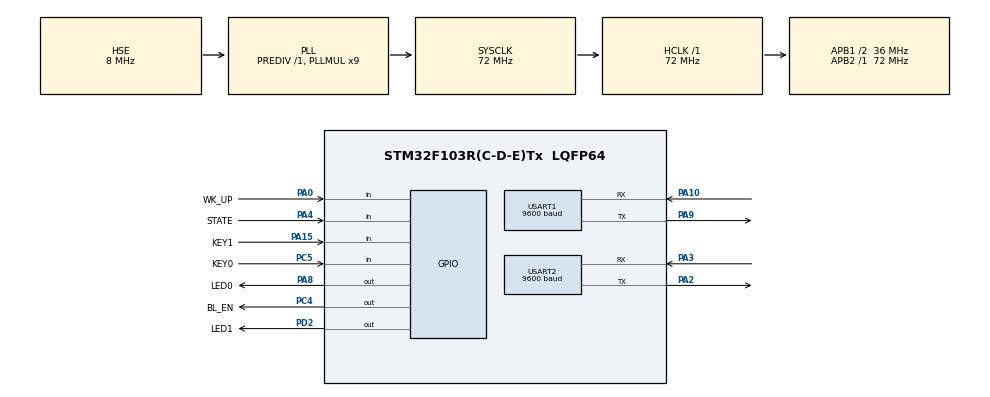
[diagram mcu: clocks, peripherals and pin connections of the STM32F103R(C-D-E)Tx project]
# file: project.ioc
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Mcu.Family=STM32F1
Mcu.Name=STM32F103R(C-D-E)Tx
Mcu.Package=LQFP64
NVIC.PriorityGroup=NVIC_PRIORITYGROUP_2
NVIC.TIM2_IRQn=true\:0\:2\:true\:false\:true\:true\:true
NVIC.USART1_IRQn=true\:1\:0\:true\:false\:true\:true\:true
NVIC.USART2_IRQn=true\:0\:2\:true\:false\:true\:true\:true
PA0-WKUP.GPIO_Label=WK_UP
PA0-WKUP.GPIO_PuPd=GPIO_PULLDOWN
PA0-WKUP.Signal=GPIO_Input
PA10.Mode=Asynchronous
PA10.Signal=USART1_RX
PA15.GPIO_Label=KEY1
PA15.GPIO_PuPd=GPIO_PULLUP
PA15.Signal=GPIO_Input
PA2.Mode=Asynchronous
PA2.Signal=USART2_TX
PA3.Mode=Asynchronous
PA3.Signal=USART2_RX
PA4.GPIO_Label=STATE
PA4.Signal=GPIO_Input
PA8.GPIO_Label=LED0
PA8.Signal=GPIO_Output
PA9.Mode=Asynchronous
PA9.Signal=USART1_TX
PC4.GPIO_Label=BL_EN
PC4.Signal=GPIO_Output
PC5.GPIO_Label=KEY0
PC5.GPIO_PuPd=GPIO_PULLUP
PC5.Signal=GPIO_Input
PD0-OSC_IN.Mode=HSE-External-Oscillator
PD0-OSC_IN.Signal=RCC_OSC_IN
PD1-OSC_OUT.Mode=HSE-External-Oscillator
PD1-OSC_OUT.Signal=RCC_OSC_OUT
PD2.GPIO_Label=LED1
PD2.Signal=GPIO_Output
ProjectManager.HeapSize=0x200
ProjectManager.StackSize=0x400
ProjectManager.TargetToolchain=STM32CubeIDE
RCC.AHBFreq_Value=72000000
RCC.APB1CLKDivider=RCC_HCLK_DIV2
RCC.APB1Freq_Value=36000000
RCC.APB1TimFreq_Value=72000000
RCC.APB2Freq_Value=72000000
RCC.APB2TimFreq_Value=72000000
RCC.HCLKFreq_Value=72000000
RCC.PLLMUL=RCC_PLL_MUL9
RCC.PLLSourceVirtual=RCC_PLLSOURCE_HSE
RCC.SYSCLKFreq_VALUE=72000000
RCC.SYSCLKSource=RCC_SYSCLKSOURCE_PLLCLK
RCC.USBFreq_Value=72000000
TIM2.Period=99
TIM2.Prescaler=7199
USART1.BaudRate=9600
USART1.VirtualMode=VM_ASYNC
USART2.BaudRate=9600
USART2.VirtualMode=VM_ASYNC
VP_SYS_VS_ND.Mode=No_Debug
VP_TIM2_VS_ClockSourceINT.Mode=Internal
board=custom

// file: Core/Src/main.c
/* USER CODE BEGIN Header */
/**
  ******************************************************************************
  * @file           : main.c
  * @brief          : Main program body
  ******************************************************************************
  * @attention
  *
  * <h2><center>&copy; Copyright (c) 2021 STMicroelectronics.
  * All rights reserved.</center></h2>
  *
  * This software component is licensed by ST under BSD 3-Clause license,
  * the "License"; You may not use this file except in compliance with the
  * License. You may obtain a copy of the License at:
  *                        opensource.org/licenses/BSD-3-Clause
  *
  ******************************************************************************
  */
/* USER CODE END Header */
#include "main.h"

/* USER CODE BEGIN Includes */
#include "lcd.h"
#include "rose.h"
/* USER CODE END Includes */

/* USER CODE BEGIN PD */
#define USART1_MAX_RX_LEN 400
#define USART2_MAX_RX_LEN 400
/* USER CODE END PD */

TIM_HandleTypeDef htim2;

UART_HandleTypeDef huart1;
UART_HandleTypeDef huart2;

/* USER CODE BEGIN PV */
u8 USART1_RX_BUF[400];
u8 USART1_TX_BUF[400];
u8 USART2_RX_BUF[400];
u8 USART2_TX_BUF[400];
vu16 USART1_RX_STA;
vu16 USART2_RX_STA;

u8 res1;	//来自串口的字符
u8 res2;	//来自蓝牙的字符
/* USER CODE END PV */

void SystemClock_Config(void);
static void MX_GPIO_Init(void);
static void MX_TIM2_Init(void);
static void MX_USART1_UART_Init(void);
static void MX_USART2_UART_Init(void);

/* USER CODE BEGIN 0 */
static void question_mode(u8 content[],u8 point[],u8 time_left[],u8 score[]){
	POINT_COLOR = BLACK;
	u8 msg[30];

//	sprintf(msg, "content:%s \r\n",content);
//	HAL_UART_Transmit(&huart1, msg, strlen(msg), 0xffff);
//	sprintf(msg, "point:%s \r\n",point);
//	HAL_UART_Transmit(&huart1, msg, strlen(msg), 0xffff);
//	sprintf(msg, "time_left:%s \r\n",time_left);
//	HAL_UART_Transmit(&huart1, msg, strlen(msg), 0xffff);
//	sprintf(msg, "score:%s \r\n",score);
//	HAL_UART_Transmit(&huart1, msg, strlen(msg), 0xffff);

	LCD_ShowString(10, 10, 200, 24, 24, "Question:");
	LCD_ShowString(40, 40, 200, 24, 24, content);

	sprintf(msg, "Point:%s",point);
	LCD_ShowString(10, 70, 200, 24, 24, msg);

	sprintf(msg, "Time left: %s s",time_left);
	LCD_ShowString(10, 100, 200, 24, 24, msg);

	if(time_left[0]=='0'){
		POINT_COLOR = RED;
		LCD_ShowString(10, 180, 200, 24, 24, "Time is up!");

	}else{
		if(score[0]=='-'){
				//do nothing
			}else if(score[0]=='0'){
				POINT_COLOR = RED;
				LCD_ShowString(80, 180, 200, 24, 24, "Wrong!");
				sprintf(msg, "You get %s points",score);
				LCD_ShowString(10, 210, 200, 24, 24, msg);
				LCD_ShowString(10, 240, 200, 24, 24, "Try again");
			}else{
				POINT_COLOR = GREEN;
				LCD_ShowString(80, 180, 200, 24, 24, "Right!");
				sprintf(msg, "You get %s points",score);
				LCD_ShowString(10, 210, 200, 24, 24, msg);
			}
	}

}

//static void answer_received_mode(int score){
//	char msg[30];
//
//}

//@parameter next : 0 for over ,1 for continue

static void judge_mode(u8 total_score[],u8 next){
	u8 msg[30];
	POINT_COLOR = BLACK;
//				  sprintf(msg, "total_point:%s \r\n",total_score);
//				  HAL_UART_Transmit(&huart1, msg, strlen(msg), 0xffff);
//				  sprintf(msg, "next:%c \r\n",next);
//				  HAL_UART_Transmit(&huart1, msg, strlen(msg), 0xffff);
	if(next=='0'){
		LCD_ShowString(10, 10, 200, 24, 24, "Game over!");
		LCD_Color_Fill(1,101,200,200,rose_color); //指定区域填充色块（color为色块数组）
	}else{
		LCD_ShowString(10, 10, 200, 24, 24, "Continue!");
	}

	sprintf(msg, "Total points: %s",total_score);
	LCD_ShowString(10, 40, 200, 24, 24, msg);

}
/* USER CODE END 0 */

int main(void)
{

  /* MCU Configuration--------------------------------------------------------*/

  /* Reset of all peripherals, Initializes the Flash interface and the Systick. */
  HAL_Init();

  /* Configure the system clock */
  SystemClock_Config();

  /* Initialize all configured peripherals */
  MX_GPIO_Init();
  MX_TIM2_Init();
  MX_USART1_UART_Init();
  MX_USART2_UART_Init();
  /* USER CODE BEGIN 2 */
  HAL_UART_Receive_IT(&huart1, &res1, 1);  		//开启串口1中断 需要修改IRHandler
  HAL_UART_Receive_IT(&huart2, &res2, 1);  		//开启串口2中断 需要修改IRHandler
  HAL_TIM_Base_Start_IT(&htim2);
  __HAL_TIM_DISABLE(&htim2);

  USART1_RX_STA=0;
  USART2_RX_STA=0;
  LCD_Init();
  /* USER CODE END 2 */

  /* Infinite loop */
  while (1)
  {

    /* USER CODE BEGIN 3 */

	  if (USART1_RX_STA&0x8000) {	//收到来自串口的消息
		  USART1_RX_STA &= 0x3fff;
		  USART1_RX_BUF[USART1_RX_STA++] = 0x0d;
		  USART1_RX_BUF[USART1_RX_STA++] = 0x0a;

		  HAL_UART_Transmit(&huart1, USART1_RX_BUF, USART1_RX_STA, HAL_MAX_DELAY);	//回显
		  HAL_UART_Transmit(&huart2, USART1_RX_BUF, USART1_RX_STA, HAL_MAX_DELAY);  //发送给蓝牙
		  USART1_RX_STA = 0;
	  }

	  if (USART2_RX_STA&0x8000) {	//收到来自蓝牙的消息
		  USART2_RX_STA &= 0x3fff;

		  HAL_UART_Transmit(&huart1, USART2_RX_BUF, USART2_RX_STA, HAL_MAX_DELAY);

		  LCD_Clear(WHITE);
		  if(USART2_RX_BUF[0]=='1'){
			  int index = 2;
			  u8 content[30];
			  int content_index = 0;
			  while(1){
				  if(USART2_RX_BUF[index]!=';'){
					  content[content_index++] = USART2_RX_BUF[index++];
				  }else{
					  index++;
					  content[content_index] = '\0';
					  break;
				  }
			  }
			  u8 point[30];
			  int point_index = 0;
			  while(1){
				  if(USART2_RX_BUF[index]!=';'){
					  point[point_index++] = USART2_RX_BUF[index++];
				  }else{
					  index++;
					  point[point_index] = '\0';
					  break;
				  }
			  }
			  u8 time_left[30];
			  int time_index = 0;
			  while(1){
				  if(USART2_RX_BUF[index]!=';'){
					  time_left[time_index++] = USART2_RX_BUF[index++];
				  }else{
					  index++;
					  time_left[time_index] = '\0';
					  break;
				  }
			  }
			  u8 score[30];
			  int score_index = 0;
			  while(1){
				  if(USART2_RX_BUF[index]!=';'){
					  score[score_index++] = USART2_RX_BUF[index++];
				  }else{
					  index++;
					  score[score_index] = '\0';
					  break;
				  }
			  }

//			  u8 msg[30];
//
//			  	sprintf(msg, "_content:%s \r\n",content);
//			  	HAL_UART_Transmit(&huart1, msg, strlen(msg), 0xffff);
//			  	sprintf(msg, "_point:%s \r\n",point);
//			  	HAL_UART_Transmit(&huart1, msg, strlen(msg), 0xffff);
//			  	sprintf(msg, "_time_left:%s \r\n",time_left);
//			  	HAL_UART_Transmit(&huart1, msg, strlen(msg), 0xffff);
//			  	sprintf(msg, "_score:%s \r\n",score);
//			  	HAL_UART_Transmit(&huart1, msg, strlen(msg), 0xffff);
			  question_mode(content,point,time_left,score);
		  }else if(USART2_RX_BUF[0]=='3'){
			  int index = 2;
			  u8 total_point[30];
			  int total_index = 0;
			  while(1){
				  if(USART2_RX_BUF[index]!=';'){
					  total_point[total_index++] = USART2_RX_BUF[index++];
				  }else{
					  index++;
					  total_point[total_index] = '\0';
					  break;
				  }
			  }

//			  u8 msg[30];
//			  sprintf(msg, "_total_point:%s \r\n",total_point);
//			  HAL_UART_Transmit(&huart1, msg, strlen(msg), 0xffff);
//			  sprintf(msg, "_next:%c \r\n",USART2_RX_BUF[index]);
//			  HAL_UART_Transmit(&huart1, msg, strlen(msg), 0xffff);

			  judge_mode(total_point,USART2_RX_BUF[index]);
		  }else{
			  //do nothing, cause data are not recognizable
		  }

		  USART2_RX_STA = 0;
	  }

  }
  /* USER CODE END 3 */
}

void SystemClock_Config(void)
{
  RCC_OscInitTypeDef RCC_OscInitStruct = {0};
  RCC_ClkInitTypeDef RCC_ClkInitStruct = {0};

  /** Initializes the RCC Oscillators according to the specified parameters
  * in the RCC_OscInitTypeDef structure.
  */
  RCC_OscInitStruct.OscillatorType = RCC_OSCILLATORTYPE_HSE;
  RCC_OscInitStruct.HSEState = RCC_HSE_ON;
  RCC_OscInitStruct.HSEPredivValue = RCC_HSE_PREDIV_DIV1;
  RCC_OscInitStruct.HSIState = RCC_HSI_ON;
  RCC_OscInitStruct.PLL.PLLState = RCC_PLL_ON;
  RCC_OscInitStruct.PLL.PLLSource = RCC_PLLSOURCE_HSE;
  RCC_OscInitStruct.PLL.PLLMUL = RCC_PLL_MUL9;
  if (HAL_RCC_OscConfig(&RCC_OscInitStruct) != HAL_OK)
  {
    Error_Handler();
  }
  /** Initializes the CPU, AHB and APB buses clocks
  */
  RCC_ClkInitStruct.ClockType = RCC_CLOCKTYPE_HCLK|RCC_CLOCKTYPE_SYSCLK
                              |RCC_CLOCKTYPE_PCLK1|RCC_CLOCKTYPE_PCLK2;
  RCC_ClkInitStruct.SYSCLKSource = RCC_SYSCLKSOURCE_PLLCLK;
  RCC_ClkInitStruct.AHBCLKDivider = RCC_SYSCLK_DIV1;
  RCC_ClkInitStruct.APB1CLKDivider = RCC_HCLK_DIV2;
  RCC_ClkInitStruct.APB2CLKDivider = RCC_HCLK_DIV1;

  if (HAL_RCC_ClockConfig(&RCC_ClkInitStruct, FLASH_LATENCY_2) != HAL_OK)
  {
    Error_Handler();
  }
}

static void MX_TIM2_Init(void)
{

  TIM_ClockConfigTypeDef sClockSourceConfig = {0};
  TIM_MasterConfigTypeDef sMasterConfig = {0};

  htim2.Instance = TIM2;
  htim2.Init.Prescaler = 7199;
  htim2.Init.CounterMode = TIM_COUNTERMODE_UP;
  htim2.Init.Period = 99;
  htim2.Init.ClockDivision = TIM_CLOCKDIVISION_DIV1;
  htim2.Init.AutoReloadPreload = TIM_AUTORELOAD_PRELOAD_DISABLE;
  if (HAL_TIM_Base_Init(&htim2) != HAL_OK)
  {
    Error_Handler();
  }
  sClockSourceConfig.ClockSource = TIM_CLOCKSOURCE_INTERNAL;
  if (HAL_TIM_ConfigClockSource(&htim2, &sClockSourceConfig) != HAL_OK)
  {
    Error_Handler();
  }
  sMasterConfig.MasterOutputTrigger = TIM_TRGO_RESET;
  sMasterConfig.MasterSlaveMode = TIM_MASTERSLAVEMODE_DISABLE;
  if (HAL_TIMEx_MasterConfigSynchronization(&htim2, &sMasterConfig) != HAL_OK)
  {
    Error_Handler();
  }

}

static void MX_USART1_UART_Init(void)
{

  huart1.Instance = USART1;
  huart1.Init.BaudRate = 9600;
  huart1.Init.WordLength = UART_WORDLENGTH_8B;
  huart1.Init.StopBits = UART_STOPBITS_1;
  huart1.Init.Parity = UART_PARITY_NONE;
  huart1.Init.Mode = UART_MODE_TX_RX;
  huart1.Init.HwFlowCtl = UART_HWCONTROL_NONE;
  huart1.Init.OverSampling = UART_OVERSAMPLING_16;
  if (HAL_UART_Init(&huart1) != HAL_OK)
  {
    Error_Handler();
  }

}

static void MX_USART2_UART_Init(void)
{

  huart2.Instance = USART2;
  huart2.Init.BaudRate = 9600;
  huart2.Init.WordLength = UART_WORDLENGTH_8B;
  huart2.Init.StopBits = UART_STOPBITS_1;
  huart2.Init.Parity = UART_PARITY_NONE;
  huart2.Init.Mode = UART_MODE_TX_RX;
  huart2.Init.HwFlowCtl = UART_HWCONTROL_NONE;
  huart2.Init.OverSampling = UART_OVERSAMPLING_16;
  if (HAL_UART_Init(&huart2) != HAL_OK)
  {
    Error_Handler();
  }

}

static void MX_GPIO_Init(void)
{
  GPIO_InitTypeDef GPIO_InitStruct = {0};

  /* GPIO Ports Clock Enable */
  __HAL_RCC_GPIOD_CLK_ENABLE();
  __HAL_RCC_GPIOA_CLK_ENABLE();
  __HAL_RCC_GPIOC_CLK_ENABLE();

  /*Configure GPIO pin Output Level */
  HAL_GPIO_WritePin(BL_EN_GPIO_Port, BL_EN_Pin, GPIO_PIN_RESET);

  /*Configure GPIO pin Output Level */
  HAL_GPIO_WritePin(LED0_GPIO_Port, LED0_Pin, GPIO_PIN_RESET);

  /*Configure GPIO pin Output Level */
  HAL_GPIO_WritePin(LED1_GPIO_Port, LED1_Pin, GPIO_PIN_RESET);

  /*Configure GPIO pin : WK_UP_Pin */
  GPIO_InitStruct.Pin = WK_UP_Pin;
  GPIO_InitStruct.Mode = GPIO_MODE_INPUT;
  GPIO_InitStruct.Pull = GPIO_PULLDOWN;
  HAL_GPIO_Init(WK_UP_GPIO_Port, &GPIO_InitStruct);

  /*Configure GPIO pin : STATE_Pin */
  GPIO_InitStruct.Pin = STATE_Pin;
  GPIO_InitStruct.Mode = GPIO_MODE_INPUT;
  GPIO_InitStruct.Pull = GPIO_NOPULL;
  HAL_GPIO_Init(STATE_GPIO_Port, &GPIO_InitStruct);

  /*Configure GPIO pin : BL_EN_Pin */
  GPIO_InitStruct.Pin = BL_EN_Pin;
  GPIO_InitStruct.Mode = GPIO_MODE_OUTPUT_PP;
  GPIO_InitStruct.Pull = GPIO_NOPULL;
  GPIO_InitStruct.Speed = GPIO_SPEED_FREQ_LOW;
  HAL_GPIO_Init(BL_EN_GPIO_Port, &GPIO_InitStruct);

  /*Configure GPIO pin : KEY0_Pin */
  GPIO_InitStruct.Pin = KEY0_Pin;
  GPIO_InitStruct.Mode = GPIO_MODE_INPUT;
  GPIO_InitStruct.Pull = GPIO_PULLUP;
  HAL_GPIO_Init(KEY0_GPIO_Port, &GPIO_InitStruct);

  /*Configure GPIO pin : LED0_Pin */
  GPIO_InitStruct.Pin = LED0_Pin;
  GPIO_InitStruct.Mode = GPIO_MODE_OUTPUT_PP;
  GPIO_InitStruct.Pull = GPIO_NOPULL;
  GPIO_InitStruct.Speed = GPIO_SPEED_FREQ_LOW;
  HAL_GPIO_Init(LED0_GPIO_Port, &GPIO_InitStruct);

  /*Configure GPIO pin : KEY1_Pin */
  GPIO_InitStruct.Pin = KEY1_Pin;
  GPIO_InitStruct.Mode = GPIO_MODE_INPUT;
  GPIO_InitStruct.Pull = GPIO_PULLUP;
  HAL_GPIO_Init(KEY1_GPIO_Port, &GPIO_InitStruct);

  /*Configure GPIO pin : LED1_Pin */
  GPIO_InitStruct.Pin = LED1_Pin;
  GPIO_InitStruct.Mode = GPIO_MODE_OUTPUT_PP;
  GPIO_InitStruct.Pull = GPIO_NOPULL;
  GPIO_InitStruct.Speed = GPIO_SPEED_FREQ_LOW;
  HAL_GPIO_Init(LED1_GPIO_Port, &GPIO_InitStruct);

}

/* USER CODE BEGIN 4 */

void HAL_TIM_PeriodElapsedCallback(TIM_HandleTypeDef *htim) {
	if(htim->Instance == TIM2) {	//定时器2 服务于蓝牙串口

	        __HAL_TIM_CLEAR_IT(&htim2,TIM_IT_UPDATE);            //清除中断
	        USART2_RX_STA|=1<<15;	                             //标记接收完成
	        __HAL_TIM_DISABLE(&htim2);                           //关闭定时器2

	}
}

// USART1_RX_STA 第16位 置1表示接收完 第14位 置1表示收到\r
void HAL_UART_RxCpltCallback(UART_HandleTypeDef *huart) {
	if(huart->Instance==USART1){	// 串口1：与电脑相连

//		HAL_UART_Transmit(&huart1, &res1, 1, HAL_MAX_DELAY);
			if((USART1_RX_STA&0x8000)==0)//接收未完成
			{
				if(USART1_RX_STA&0x4000)//接收到了0x0d
				{
					if(res1!=0x0a) USART1_RX_STA=0; //接收错误,重新开始
					else USART1_RX_STA|=0x8000;		//接收完成了
				}
				else //还没收到0X0d
				{
					if(res1==0x0d) USART1_RX_STA|=0x4000;
					else
					{
						USART1_RX_BUF[USART1_RX_STA++]=res1;
						if(USART1_RX_STA>(USART1_MAX_RX_LEN-1)) USART1_RX_STA=0;//接收数据错误,重新开始接收
					}
				}
			}
	} else if (huart->Instance==USART2) {	// 串口2：与蓝牙相连
			if((USART2_RX_STA&0x8000)==0)		//接收完的一批数据,如果还没有被处理,则不再接收其他数据
			{
				if(USART2_RX_STA<USART2_MAX_RX_LEN)	//还可以接收数据
				{
	                __HAL_TIM_SET_COUNTER(&htim2,0);	//重置计数器
					if(USART2_RX_STA==0) 				//
					{
	                    __HAL_TIM_ENABLE(&htim2);		//使能定时器2 (10ms)
					}
					USART2_RX_BUF[USART2_RX_STA++]=res2;	//记录接收到的值
				}else
				{
					USART2_RX_STA|=0x8000;				//强制标记接收完成
				}
			}

	}
}

/* USER CODE END 4 */

void Error_Handler(void)
{
  __disable_irq();
  while (1)
  {
  }
}

/************************ (C) COPYRIGHT STMicroelectronics *****END OF FILE****/
